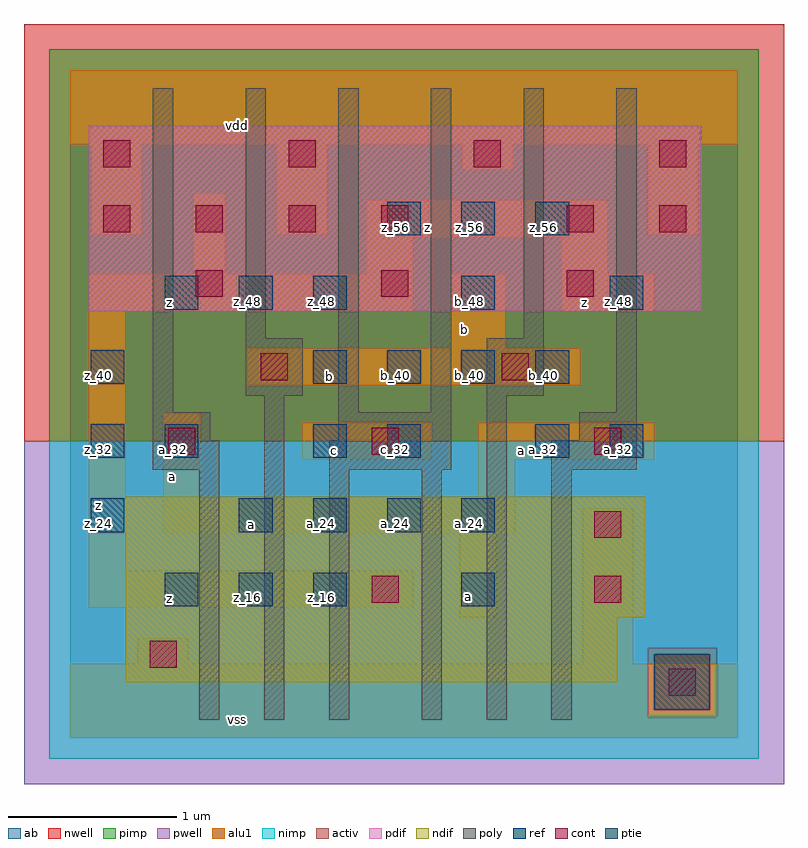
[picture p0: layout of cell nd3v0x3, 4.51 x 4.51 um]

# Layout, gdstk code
import gdstk
lib = gdstk.Library(unit=1e-6, precision=2.5e-09)
def R(c, l, rs):  # rectangles x0, y0, x1, y1
    for r in rs: c.add(gdstk.rectangle(r[:2], r[2:], *l))
def A(c, l, x, y, w, h, nx, ny, dx, dy):  # array of equal rectangles
    R(c, l, [(x+i*dx, y+j*dy, x+i*dx+w, y+j*dy+h) for i in range(nx) for j in range(ny)])
ndif = (3, 0)
pdif = (4, 0)
ptie = (6, 0)
ref = (24, 0)
cont = (25, 0)
pwell = (41, 0)
nwell = (42, 0)
activ = (43, 0)
pimp = (44, 0)
nimp = (45, 0)
poly = (46, 0)
alu1 = (49, 0)
ab = (63, 0)

nd3v0x3 = lib.new_cell('nd3v0x3')
R(nd3v0x3, ndif, [(0.33,0.33,3.245,0.715), (0.33,0.715,3.41,1.43)])
R(nd3v0x3, pdif, [(0.11,2.53,3.74,3.63)])
R(nd3v0x3, ptie, [(3.465,0.165,3.795,0.495)])
A(nd3v0x3, ref, 0.56, 0.78, 0.2, 0.2, 3, 2, 0.44, 1.76)
A(nd3v0x3, ref, 0.12, 1.22, 0.2, 0.2, 1, 3, 0, 0.44)
A(nd3v0x3, ref, 1, 1.22, 0.2, 0.2, 4, 1, 0.44, 0)
A(nd3v0x3, ref, 1.44, 2.1, 0.2, 0.2, 4, 1, 0.44, 0)
A(nd3v0x3, ref, 1.88, 2.98, 0.2, 0.2, 3, 1, 0.44, 0)
R(nd3v0x3, ref, [(2.32,0.78,2.52,0.98), (0.56,1.66,0.76,1.86), (1.44,1.66,1.64,1.86), (1.88,1.66,2.08,1.86), (2.76,1.66,2.96,1.86), (3.2,1.66,3.4,1.86), (2.32,2.54,2.52,2.74), (3.2,2.54,3.4,2.74)])
A(nd3v0x3, cont, 0.745, 2.615, 0.16, 0.16, 3, 1, 1.1, 0)
A(nd3v0x3, cont, 0.195, 3, 0.16, 0.16, 4, 1, 0.55, 0)
A(nd3v0x3, cont, 0.195, 3.385, 0.16, 0.16, 4, 1, 1.1, 0)
R(nd3v0x3, cont, [(3.55,0.25,3.71,0.41), (0.47,0.415,0.63,0.575), (1.79,0.8,1.95,0.96), (3.11,0.8,3.27,0.96), (3.11,1.185,3.27,1.345), (0.58,1.68,0.74,1.84), (1.79,1.68,1.95,1.84), (3.11,1.68,3.27,1.84), (1.13,2.12,1.29,2.28), (2.56,2.12,2.72,2.28), (2.945,3,3.105,3.16), (3.495,3,3.655,3.16)])
R(nd3v0x3, pwell, [(-0.275,-0.275,4.235,1.76)])
R(nd3v0x3, nwell, [(-0.275,1.76,4.235,4.235)])
R(nd3v0x3, activ, [(3.465,0.165,3.795,0.495), (0.33,0.33,3.245,0.715), (0.33,0.715,3.41,1.43), (0.11,2.53,3.74,3.63)])
R(nd3v0x3, pimp, [(3.425,0.125,3.835,0.535), (-0.125,1.76,4.085,4.085)])
R(nd3v0x3, nimp, [(-0.125,-0.125,4.085,0.125), (-0.125,0.125,3.425,0.535), (3.835,0.125,4.085,0.535), (-0.125,0.535,4.085,1.76)])
R(nd3v0x3, poly, [(0.765,0.105,0.885,1.59), (1.15,0.105,1.27,2.03), (1.535,0.105,1.655,1.59), (2.085,0.105,2.205,1.59), (2.47,0.105,2.59,2.03), (2.855,0.105,2.975,1.59), (0.49,1.59,0.885,1.765), (1.535,1.59,2.26,1.765), (2.855,1.59,3.36,1.765), (0.49,1.765,0.83,1.93), (1.59,1.765,2.26,1.93), (3.02,1.765,3.36,1.93), (0.49,1.93,0.61,3.855), (1.59,1.93,1.71,3.855), (2.14,1.93,2.26,3.855), (3.24,1.93,3.36,3.855), (1.04,2.03,1.38,2.37), (2.47,2.03,2.81,2.37), (1.04,2.37,1.16,3.855), (2.69,2.37,2.81,3.855)])
R(nd3v0x3, alu1, [(0,0,3.96,0.44), (0.4,0.44,0.7,0.59), (3.04,0.44,3.34,1.36), (2.31,0.715,2.53,1.21), (0.11,0.77,2.035,0.99), (0.11,0.99,0.33,2.53), (0.55,1.21,2.64,1.43), (0.55,1.43,0.77,1.925), (2.42,1.43,2.64,1.65), (1.375,1.65,2.145,1.87), (2.42,1.65,3.465,1.87), (1.045,2.09,3.025,2.31), (2.255,2.31,2.585,2.75), (0.11,2.53,2.035,2.75), (2.915,2.53,3.465,2.75), (0.73,2.75,0.92,3.23), (1.76,2.75,2.035,2.97), (2.915,2.75,3.19,2.97), (1.76,2.97,3.19,3.19), (0.125,2.985,0.425,3.52), (1.225,2.985,1.525,3.52), (3.425,2.985,3.725,3.52), (2.325,3.37,2.625,3.52), (0,3.52,3.96,3.96)])
R(nd3v0x3, ab, [(0,0,3.96,3.96)])
nd3v0x3.add(gdstk.Label('vss', (0.99,0.11), layer=49, texttype=0))
nd3v0x3.add(gdstk.Label('a', (2.365,0.8375), layer=49, texttype=0))
nd3v0x3.add(gdstk.Label('z', (0.59,0.825), layer=49, texttype=0))
nd3v0x3.add(gdstk.Label('a', (1.0725,1.265), layer=49, texttype=0))
nd3v0x3.add(gdstk.Label('a', (2.68,1.705), layer=49, texttype=0))
nd3v0x3.add(gdstk.Label('c', (1.5675,1.705), layer=49, texttype=0))
nd3v0x3.add(gdstk.Label('a', (0.605,1.5525), layer=49, texttype=0))
nd3v0x3.add(gdstk.Label('b', (1.54,2.145), layer=49, texttype=0))
nd3v0x3.add(gdstk.Label('z', (3.0525,2.585), layer=49, texttype=0))
nd3v0x3.add(gdstk.Label('b', (2.3375,2.42), layer=49, texttype=0))
nd3v0x3.add(gdstk.Label('z', (0.165,1.375), layer=49, texttype=0))
nd3v0x3.add(gdstk.Label('z', (0.59,2.585), layer=49, texttype=0))
nd3v0x3.add(gdstk.Label('z', (2.1175,3.025), layer=49, texttype=0))
nd3v0x3.add(gdstk.Label('vdd', (0.99,3.63), layer=49, texttype=0))
nd3v0x3.add(gdstk.Label('z_16', (0.61,0.83), layer=24, texttype=0))
nd3v0x3.add(gdstk.Label('a_32', (0.61,1.71), layer=24, texttype=0))
nd3v0x3.add(gdstk.Label('z_48', (0.61,2.59), layer=24, texttype=0))
nd3v0x3.add(gdstk.Label('z_16', (1.05,0.83), layer=24, texttype=0))
nd3v0x3.add(gdstk.Label('a_24', (1.05,1.27), layer=24, texttype=0))
nd3v0x3.add(gdstk.Label('z_48', (1.05,2.59), layer=24, texttype=0))
nd3v0x3.add(gdstk.Label('z_16', (1.49,0.83), layer=24, texttype=0))
nd3v0x3.add(gdstk.Label('a_24', (1.49,1.27), layer=24, texttype=0))
nd3v0x3.add(gdstk.Label('c_32', (1.49,1.71), layer=24, texttype=0))
nd3v0x3.add(gdstk.Label('b_40', (1.49,2.15), layer=24, texttype=0))
nd3v0x3.add(gdstk.Label('z_48', (1.49,2.59), layer=24, texttype=0))
nd3v0x3.add(gdstk.Label('a_24', (1.93,1.27), layer=24, texttype=0))
nd3v0x3.add(gdstk.Label('c_32', (1.93,1.71), layer=24, texttype=0))
nd3v0x3.add(gdstk.Label('b_40', (1.93,2.15), layer=24, texttype=0))
nd3v0x3.add(gdstk.Label('z_56', (1.93,3.03), layer=24, texttype=0))
nd3v0x3.add(gdstk.Label('z_24', (0.17,1.27), layer=24, texttype=0))
nd3v0x3.add(gdstk.Label('z_32', (0.17,1.71), layer=24, texttype=0))
nd3v0x3.add(gdstk.Label('z_40', (0.17,2.15), layer=24, texttype=0))
nd3v0x3.add(gdstk.Label('a_16', (2.37,0.83), layer=24, texttype=0))
nd3v0x3.add(gdstk.Label('a_24', (2.37,1.27), layer=24, texttype=0))
nd3v0x3.add(gdstk.Label('b_40', (2.37,2.15), layer=24, texttype=0))
nd3v0x3.add(gdstk.Label('b_48', (2.37,2.59), layer=24, texttype=0))
nd3v0x3.add(gdstk.Label('z_56', (2.37,3.03), layer=24, texttype=0))
nd3v0x3.add(gdstk.Label('a_32', (2.81,1.71), layer=24, texttype=0))
nd3v0x3.add(gdstk.Label('b_40', (2.81,2.15), layer=24, texttype=0))
nd3v0x3.add(gdstk.Label('z_56', (2.81,3.03), layer=24, texttype=0))
nd3v0x3.add(gdstk.Label('a_32', (3.25,1.71), layer=24, texttype=0))
nd3v0x3.add(gdstk.Label('z_48', (3.25,2.59), layer=24, texttype=0))

lib.write_gds('nd3v0x3.gds')
